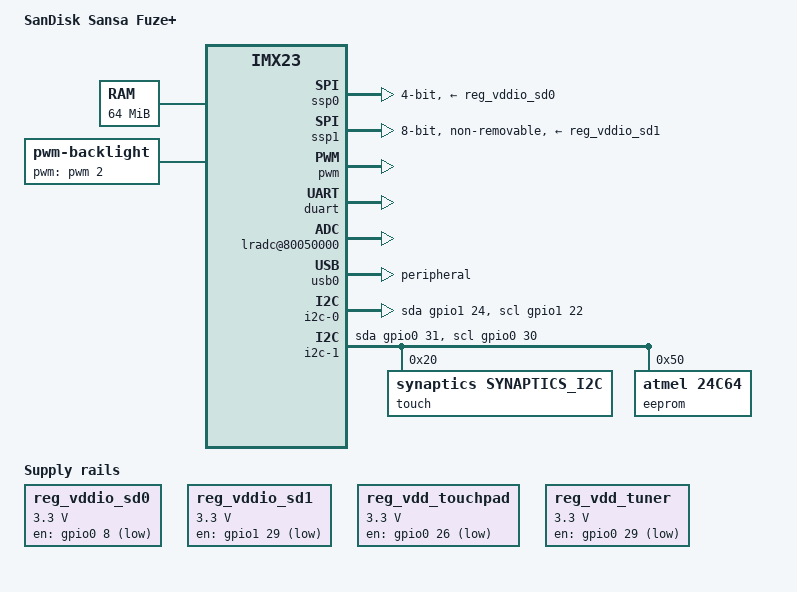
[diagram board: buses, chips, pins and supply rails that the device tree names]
/*
 * Copyright (C) 2013-2016 Marek Vasut <marek.vasut@gmail.com>
 *
 * This file is dual-licensed: you can use it either under the terms
 * of the GPL or the X11 license, at your option. Note that this dual
 * licensing only applies to this file, and not this project as a
 * whole.
 *
 *  a) This file is free software; you can redistribute it and/or
 *     modify it under the terms of the GNU General Public License as
 *     published by the Free Software Foundation; either version 2 of
 *     the License, or (at your option) any later version.
 *
 *     This file is distributed in the hope that it will be useful,
 *     but WITHOUT ANY WARRANTY; without even the implied warranty of
 *     MERCHANTABILITY or FITNESS FOR A PARTICULAR PURPOSE.  See the
 *     GNU General Public License for more details.
 *
 * Or, alternatively,
 *
 *  b) Permission is hereby granted, free of charge, to any person
 *     obtaining a copy of this software and associated documentation
 *     files (the "Software"), to deal in the Software without
 *     restriction, including without limitation the rights to use,
 *     copy, modify, merge, publish, distribute, sublicense, and/or
 *     sell copies of the Software, and to permit persons to whom the
 *     Software is furnished to do so, subject to the following
 *     conditions:
 *
 *     The above copyright notice and this permission notice shall be
 *     included in all copies or substantial portions of the Software.
 *
 *     THE SOFTWARE IS PROVIDED "AS IS", WITHOUT WARRANTY OF ANY KIND,
 *     EXPRESS OR IMPLIED, INCLUDING BUT NOT LIMITED TO THE WARRANTIES
 *     OF MERCHANTABILITY, FITNESS FOR A PARTICULAR PURPOSE AND
 *     NONINFRINGEMENT. IN NO EVENT SHALL THE AUTHORS OR COPYRIGHT
 *     HOLDERS BE LIABLE FOR ANY CLAIM, DAMAGES OR OTHER LIABILITY,
 *     WHETHER IN AN ACTION OF CONTRACT, TORT OR OTHERWISE, ARISING
 *     FROM, OUT OF OR IN CONNECTION WITH THE SOFTWARE OR THE USE OR
 *     OTHER DEALINGS IN THE SOFTWARE.
 *
 */

/dts-v1/;
#include <dt-bindings/gpio/gpio.h>
#include "imx23.dtsi"

/ {
	model = "SanDisk Sansa Fuze+";
	compatible = "sandisk,sansa_fuze_plus", "fsl,imx23";

	memory@40000000 {
		device_type = "memory";
		reg = <0x40000000 0x04000000>;
	};

	apb@80000000 {
		apbh@80000000 {
			ssp0: spi@80010000 {
				compatible = "fsl,imx23-mmc";
				pinctrl-names = "default";
				pinctrl-0 = <&mmc0_4bit_pins_a &mmc0_pins_fixup>;
				bus-width = <4>;
				vmmc-supply = <&reg_vddio_sd0>;
				cd-inverted;
				status = "okay";
			};

			ssp1: spi@80034000 {
				compatible = "fsl,imx23-mmc";
				pinctrl-names = "default";
				pinctrl-0 = <&mmc1_8bit_pins_a>;
				bus-width = <8>;
				vmmc-supply = <&reg_vddio_sd1>;
				non-removable;
				status = "okay";
			};

			pinctrl@80018000 {
				pinctrl-names = "default";
				pinctrl-0 = <&hog_pins_a>;

				hog_pins_a: hog@0 {
					reg = <0>;
					fsl,pinmux-ids = <
						MX23_PAD_GPMI_D08__GPIO_0_8
						MX23_PAD_PWM3__GPIO_1_29
						MX23_PAD_AUART1_RTS__GPIO_0_27
						MX23_PAD_AUART1_CTS__GPIO_0_26
						MX23_PAD_I2C_SCL__I2C_SCL
						MX23_PAD_I2C_SDA__I2C_SDA
						MX23_PAD_LCD_DOTCK__GPIO_1_22
						MX23_PAD_LCD_HSYNC__GPIO_1_24
						MX23_PAD_PWM3__GPIO_1_29
					>;
					fsl,drive-strength = <0>;
					fsl,voltage = <1>;
					fsl,pull-up = <0>;
				};
			};
		};

		apbx@80040000 {
			pwm: pwm@80064000 {
				pinctrl-names = "default";
				pinctrl-0 = <&pwm2_pins_a>;
				status = "okay";
			};

			duart: serial@80070000 {
				pinctrl-names = "default";
				pinctrl-0 = <&duart_pins_a>;
				status = "okay";
			};

			usbphy0: usbphy@8007c000 {
				status = "okay";
			};

			lradc@80050000 {
				status = "okay";
			};
		};
	};

	ahb@80080000 {
		usb0: usb@80080000 {
			dr_mode = "peripheral";
			status = "okay";
		};
	};

	reg_vddio_sd0: regulator-vddio-sd0 {
		compatible = "regulator-fixed";
		regulator-name = "vddio-sd0";
		regulator-min-microvolt = <3300000>;
		regulator-max-microvolt = <3300000>;
		gpio = <&gpio0 8 0>;
	};

	reg_vddio_sd1: regulator-vddio-sd1 {
		compatible = "regulator-fixed";
		regulator-name = "vddio-sd1";
		regulator-min-microvolt = <3300000>;
		regulator-max-microvolt = <3300000>;
		gpio = <&gpio1 29 0>;
	};

	reg_vdd_touchpad: regulator-vdd-touchpad0 {
		compatible = "regulator-fixed";
		regulator-name = "vdd-touchpad0";
		regulator-min-microvolt = <3300000>;
		regulator-max-microvolt = <3300000>;
		gpio = <&gpio0 26 GPIO_ACTIVE_LOW>;
		regulator-always-on;
	};

	reg_vdd_tuner: regulator-vdd-tuner0 {
		compatible = "regulator-fixed";
		regulator-name = "vdd-tuner0";
		regulator-min-microvolt = <3300000>;
		regulator-max-microvolt = <3300000>;
		gpio = <&gpio0 29 GPIO_ACTIVE_LOW>;
		regulator-always-on;
	};

	backlight {
		compatible = "pwm-backlight";
		pwms = <&pwm 2 5000000 0>;
		brightness-levels = <0 4 8 16 32 64 128 255>;
		default-brightness-level = <6>;
	};

	i2c-0 {
		#address-cells = <1>;
		#size-cells = <0>;
		compatible = "i2c-gpio";
		gpios = <
			&gpio1 24 0		/* SDA */
			&gpio1 22 0		/* SCL */
		>;
		i2c-gpio,delay-us = <2>;	/* ~100 kHz */
	};

	i2c-1 {
		#address-cells = <1>;
		#size-cells = <0>;
		compatible = "i2c-gpio";
		gpios = <
			&gpio0 31 0		/* SDA */
			&gpio0 30 0		/* SCL */
		>;
		i2c-gpio,delay-us = <2>;	/* ~100 kHz */

		touch: touch@20 {
			compatible = "synaptics,synaptics_i2c";
			reg = <0x20>;
		};

		eeprom: eeprom@50 {
			compatible = "atmel,24c64";
			reg = <0x50>;
			pagesize = <32>;
		};
	};

};
